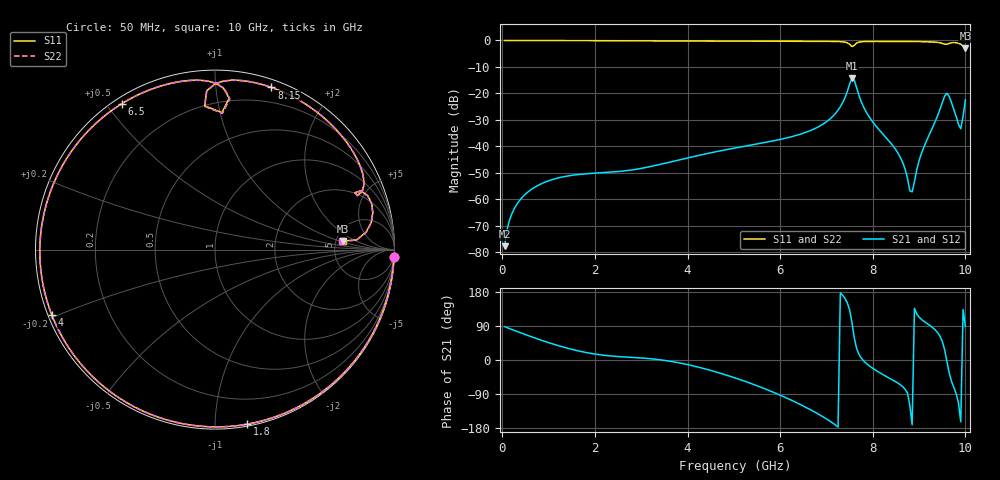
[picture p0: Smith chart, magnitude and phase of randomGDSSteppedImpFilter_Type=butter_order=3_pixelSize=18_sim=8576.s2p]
! freq	dB(S11)	phase(S11)	dB(S12)	phase(S12)
!  dB(S21)	phase(S21)	dB(S22)	phase(S22)
!S-par simulation data
#  GHz  S  DB  R 50
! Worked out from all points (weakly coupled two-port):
!   200 points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, 50 MHz to 10 GHz, reference 50 ohm
!   highest |S21| = -14.21 dB at 7.55 GHz (marker M1); lowest = -77.8 dB at 50 MHz (marker M2)
!   lowest |S11| = -2.9 dB at 10 GHz (marker M3), VSWR 5.96, Z = 287 + j55 ohm
!   |S11| at or under -10 dB: nowhere
!   |S22| runs from -3.0 to 0.0 dB; largest |S21 - S12| = 0
!   S11 on the Smith chart (normalised r, x): 50 MHz: 3, -48; 1.8 GHz: 0.01, -1.20; 4 GHz: 0.01, -0.19; 6.5 GHz: 0.02, +0.55; 8.15 GHz: 0.07, +1.41; 10 GHz: 5.74, +1.10
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0.05  -0.02 -2.4  -77.79 88.0  -77.79 88.0  -0.02 -2.4
0.2  -0.03 -9.3  -65.78 80.8  -65.78 80.8  -0.03 -9.3
0.5  -0.04 -23.2  -58.11 67.1  -58.11 67.1  -0.04 -23.2
1.75  -0.09 -77.6  -50.51 21.2  -50.51 21.2  -0.09 -77.6
1.8  -0.10 -79.6  -50.44 20.0  -50.44 20.0  -0.10 -79.6
3.4  -0.16 -138.4  -46.91 0.7  -46.91 0.7  -0.16 -138.5
4  -0.18 -158.2  -44.43 -12.1  -44.43 -12.1  -0.18 -158.3
5.05  -0.23 168.6  -40.60 -48.3  -40.60 -48.3  -0.23 168.5
6.5  -0.31 122.6  -35.09 -121.4  -35.09 -121.4  -0.31 122.5
6.7  -0.33 116.0  -33.74 -134.2  -33.74 -134.2  -0.33 115.9
7.25  -0.45 96.5  -26.38 -177.1  -26.38 -177.1  -0.45 96.4
7.55  -2.33 87.1  -14.21 99.3  -14.21 99.3  -2.38 86.9
7.85  -0.43 82.3  -26.82 -8.0  -26.82 -8.0  -0.43 82.3
8.15  -0.38 70.8  -34.05 -33.5  -34.05 -33.5  -0.38 70.7
8.35  -0.39 63.7  -38.01 -47.3  -38.01 -47.3  -0.39 63.6
8.65  -0.41 53.2  -46.28 -70.8  -46.28 -70.8  -0.42 53.0
8.85  -0.44 46.1  -57.25 -171.2  -57.25 -171.2  -0.44 46.0
9.05  -0.48 39.0  -42.76 107.3  -42.76 107.3  -0.48 38.8
9.55  -1.42 20.9  -21.12 27.9  -21.12 27.9  -1.43 20.7
9.65  -1.15 22.0  -21.14 -33.9  -21.14 -33.9  -1.16 21.9
9.9  -1.43 6.6  -33.44 -163.1  -33.44 -163.1  -1.44 6.5
10  -2.94 3.8  -22.46 88.6  -22.46 88.6  -2.98 3.8
